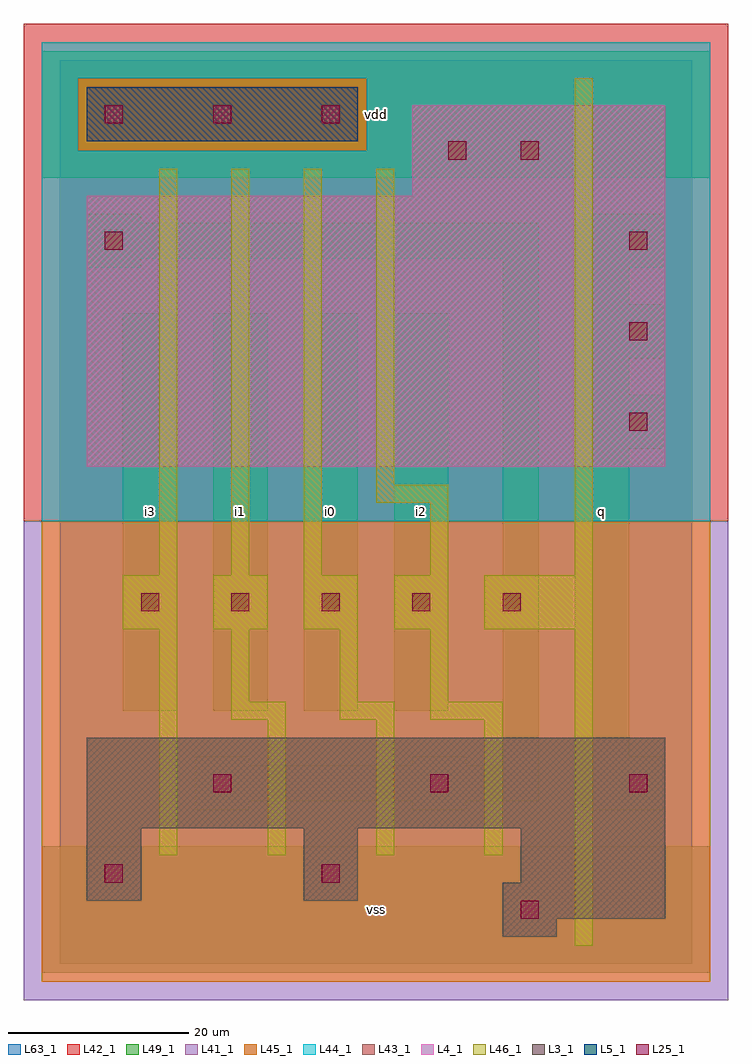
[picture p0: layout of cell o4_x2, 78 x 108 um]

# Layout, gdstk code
import gdstk
lib = gdstk.Library(unit=1e-6, precision=1e-09)
def R(c, l, rs):  # rectangles x0, y0, x1, y1
    for r in rs: c.add(gdstk.rectangle(r[:2], r[2:], *l))
def A(c, l, x, y, w, h, nx, ny, dx, dy):  # array of equal rectangles
    R(c, l, [(x+i*dx, y+j*dy, x+i*dx+w, y+j*dy+h) for i in range(nx) for j in range(ny)])
L3_1 = (3, 1)
L4_1 = (4, 1)
L5_1 = (5, 1)
L25_1 = (25, 1)
L41_1 = (41, 1)
L42_1 = (42, 1)
L43_1 = (43, 1)
L44_1 = (44, 1)
L45_1 = (45, 1)
L46_1 = (46, 1)
L49_1 = (49, 1)
L63_1 = (63, 1)

o4_x2 = lib.new_cell('o4_x2')
R(o4_x2, L3_1, [(49,3,55,5), (49,5,67,9), (3,7,9,15), (27,7,33,15), (51,9,67,15), (3,15,67,25)])
R(o4_x2, L4_1, [(3,55,67,85), (39,85,67,95)])
R(o4_x2, L5_1, [(3,91,33,97)])
A(o4_x2, L25_1, 9, 39, 2, 2, 5, 1, 10, 0)
A(o4_x2, L25_1, 63, 59, 2, 2, 1, 3, 0, 10)
A(o4_x2, L25_1, 5, 93, 2, 2, 3, 1, 12, 0)
R(o4_x2, L25_1, [(51,5,53,7), (5,9,7,11), (29,9,31,11), (17,19,19,21), (41,19,43,21), (63,19,65,21), (5,79,7,81), (43,89,45,91), (51,89,53,91)])
R(o4_x2, L41_1, [(-4,-4,74,49)])
R(o4_x2, L42_1, [(-4,49,74,104)])
R(o4_x2, L43_1, [(49,3,55,5), (49,5,67,9), (3,7,9,15), (27,7,33,15), (51,9,67,15), (3,15,67,25), (3,55,67,85), (39,85,67,95), (3,91,33,97)])
R(o4_x2, L44_1, [(-2,49,72,90), (-2,90,2,98), (34,90,72,98), (-2,98,72,102)])
R(o4_x2, L45_1, [(-2,-2,72,49), (2,90,34,98)])
A(o4_x2, L46_1, 23, 12, 2, 15, 3, 1, 12, 0)
A(o4_x2, L46_1, 7, 37, 6, 6, 4, 1, 10, 0)
A(o4_x2, L46_1, 11, 43, 2, 45, 3, 1, 8, 0)
R(o4_x2, L46_1, [(57,2,59,37), (11,12,13,37), (19,27,25,29), (31,27,37,29), (41,27,49,29), (19,29,21,37), (31,29,33,37), (41,29,43,37), (47,37,59,43), (41,43,43,51), (57,43,59,98), (35,51,43,53), (35,53,37,88)])
A(o4_x2, L49_1, 7, 28, 6, 44, 4, 1, 10, 0)
R(o4_x2, L49_1, [(-2,-1,72,13), (15,17,21,18), (39,17,45,18), (58,17,67,18), (15,18,53,22), (57,18,67,23), (15,22,21,23), (39,22,45,23), (49,22,53,37), (57,23,63,57), (47,37,53,43), (49,43,53,78), (57,57,67,63), (57,63,63,67), (57,67,67,73), (57,73,63,77), (3,77,9,78), (57,77,67,82), (3,78,53,82), (3,82,9,83), (58,82,67,83), (-2,87,72,101)])
R(o4_x2, L63_1, [(0,0,70,100)])
o4_x2.add(gdstk.Label('i3', (10,50), layer=49, texttype=1))
o4_x2.add(gdstk.Label('i3', (10,50), layer=49, texttype=1))
o4_x2.add(gdstk.Label('i0', (30,50), layer=49, texttype=1))
o4_x2.add(gdstk.Label('i1', (20,50), layer=49, texttype=1))
o4_x2.add(gdstk.Label('i1', (20,50), layer=49, texttype=1))
o4_x2.add(gdstk.Label('i0', (30,50), layer=49, texttype=1))
o4_x2.add(gdstk.Label('vss', (35,6), layer=49, texttype=1))
o4_x2.add(gdstk.Label('vss', (35,6), layer=49, texttype=1))
o4_x2.add(gdstk.Label('i2', (40,50), layer=49, texttype=1))
o4_x2.add(gdstk.Label('i2', (40,50), layer=49, texttype=1))
o4_x2.add(gdstk.Label('vdd', (35,94), layer=49, texttype=1))
o4_x2.add(gdstk.Label('vdd', (35,94), layer=49, texttype=1))
o4_x2.add(gdstk.Label('q', (60,50), layer=49, texttype=1))
o4_x2.add(gdstk.Label('q', (60,50), layer=49, texttype=1))

lib.write_gds('o4_x2.gds')
